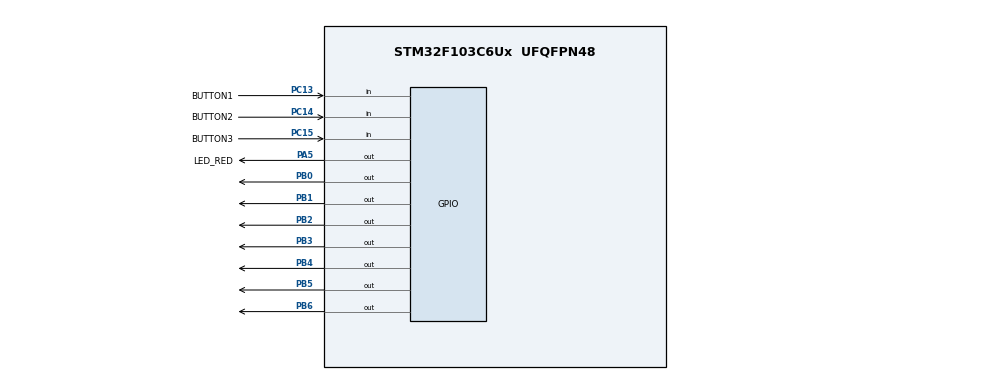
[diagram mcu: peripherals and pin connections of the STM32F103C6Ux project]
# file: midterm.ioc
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Mcu.Family=STM32F1
Mcu.Name=STM32F103C6Ux
Mcu.Package=UFQFPN48
NVIC.PriorityGroup=NVIC_PRIORITYGROUP_4
NVIC.TIM2_IRQn=true\:0\:0\:false\:false\:true\:true\:true
PA5.GPIO_Label=LED_RED
PA5.Signal=GPIO_Output
PB0.Signal=GPIO_Output
PB1.Signal=GPIO_Output
PB2.Signal=GPIO_Output
PB3.Signal=GPIO_Output
PB4.Signal=GPIO_Output
PB5.Signal=GPIO_Output
PB6.Signal=GPIO_Output
PC13-TAMPER-RTC.GPIO_Label=BUTTON1
PC13-TAMPER-RTC.GPIO_PuPd=GPIO_PULLUP
PC13-TAMPER-RTC.Signal=GPIO_Input
PC14-OSC32_IN.GPIO_Label=BUTTON2
PC14-OSC32_IN.GPIO_PuPd=GPIO_PULLUP
PC14-OSC32_IN.Signal=GPIO_Input
PC15-OSC32_OUT.GPIO_Label=BUTTON3
PC15-OSC32_OUT.GPIO_PuPd=GPIO_PULLUP
PC15-OSC32_OUT.Signal=GPIO_Input
ProjectManager.HeapSize=0x200
ProjectManager.StackSize=0x400
ProjectManager.TargetToolchain=STM32CubeIDE
RCC.APB1Freq_Value=8000000
RCC.APB2Freq_Value=8000000
TIM2.Period=10
TIM2.Prescaler=7999
VP_SYS_VS_ND.Mode=No_Debug
VP_TIM2_VS_ClockSourceINT.Mode=Internal
board=custom

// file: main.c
/* USER CODE BEGIN Header */
/**
  ******************************************************************************
  * @file           : main.c
  * @brief          : Main program body
  ******************************************************************************
  * @attention
  *
  * <h2><center>&copy; Copyright (c) 2022 STMicroelectronics.
  * All rights reserved.</center></h2>
  *
  * This software component is licensed by ST under BSD 3-Clause license,
  * the "License"; You may not use this file except in compliance with the
  * License. You may obtain a copy of the License at:
  *                        opensource.org/licenses/BSD-3-Clause
  *
  ******************************************************************************
  */
/* USER CODE END Header */
#include "main.h"

/* USER CODE BEGIN Includes */
#include "global.h"
#include "fsm_automatic.h"
#include "fsm_manual.h"
#include "led_blinky.h"
/* USER CODE END Includes */

TIM_HandleTypeDef htim2;

void SystemClock_Config(void);
static void MX_GPIO_Init(void);
static void MX_TIM2_Init(void);

int main(void)
{

  /* MCU Configuration--------------------------------------------------------*/

  /* Reset of all peripherals, Initializes the Flash interface and the Systick. */
  HAL_Init();

  /* Configure the system clock */
  SystemClock_Config();

  /* Initialize all configured peripherals */
  MX_GPIO_Init();
  MX_TIM2_Init();
  /* USER CODE BEGIN 2 */
  HAL_TIM_Base_Start_IT(&htim2);
  /* USER CODE END 2 */

  /* Infinite loop */
  /* USER CODE BEGIN WHILE */
  counter = INIT;
  status = INIT;
  while (1)
  {
    /* USER CODE END WHILE */

    /* USER CODE BEGIN 3 */
	  fsm_automatic_run();
	  fsm_manual_run();
	  led_blinky();
  }
  /* USER CODE END 3 */
}

void SystemClock_Config(void)
{
  RCC_OscInitTypeDef RCC_OscInitStruct = {0};
  RCC_ClkInitTypeDef RCC_ClkInitStruct = {0};

  /** Initializes the RCC Oscillators according to the specified parameters
  * in the RCC_OscInitTypeDef structure.
  */
  RCC_OscInitStruct.OscillatorType = RCC_OSCILLATORTYPE_HSI;
  RCC_OscInitStruct.HSIState = RCC_HSI_ON;
  RCC_OscInitStruct.HSICalibrationValue = RCC_HSICALIBRATION_DEFAULT;
  RCC_OscInitStruct.PLL.PLLState = RCC_PLL_NONE;
  if (HAL_RCC_OscConfig(&RCC_OscInitStruct) != HAL_OK)
  {
    Error_Handler();
  }
  /** Initializes the CPU, AHB and APB buses clocks
  */
  RCC_ClkInitStruct.ClockType = RCC_CLOCKTYPE_HCLK|RCC_CLOCKTYPE_SYSCLK
                              |RCC_CLOCKTYPE_PCLK1|RCC_CLOCKTYPE_PCLK2;
  RCC_ClkInitStruct.SYSCLKSource = RCC_SYSCLKSOURCE_HSI;
  RCC_ClkInitStruct.AHBCLKDivider = RCC_SYSCLK_DIV1;
  RCC_ClkInitStruct.APB1CLKDivider = RCC_HCLK_DIV1;
  RCC_ClkInitStruct.APB2CLKDivider = RCC_HCLK_DIV1;

  if (HAL_RCC_ClockConfig(&RCC_ClkInitStruct, FLASH_LATENCY_0) != HAL_OK)
  {
    Error_Handler();
  }
}

static void MX_TIM2_Init(void)
{

  TIM_ClockConfigTypeDef sClockSourceConfig = {0};
  TIM_MasterConfigTypeDef sMasterConfig = {0};

  htim2.Instance = TIM2;
  htim2.Init.Prescaler = 7999;
  htim2.Init.CounterMode = TIM_COUNTERMODE_UP;
  htim2.Init.Period = 10;
  htim2.Init.ClockDivision = TIM_CLOCKDIVISION_DIV1;
  htim2.Init.AutoReloadPreload = TIM_AUTORELOAD_PRELOAD_DISABLE;
  if (HAL_TIM_Base_Init(&htim2) != HAL_OK)
  {
    Error_Handler();
  }
  sClockSourceConfig.ClockSource = TIM_CLOCKSOURCE_INTERNAL;
  if (HAL_TIM_ConfigClockSource(&htim2, &sClockSourceConfig) != HAL_OK)
  {
    Error_Handler();
  }
  sMasterConfig.MasterOutputTrigger = TIM_TRGO_RESET;
  sMasterConfig.MasterSlaveMode = TIM_MASTERSLAVEMODE_DISABLE;
  if (HAL_TIMEx_MasterConfigSynchronization(&htim2, &sMasterConfig) != HAL_OK)
  {
    Error_Handler();
  }

}

static void MX_GPIO_Init(void)
{
  GPIO_InitTypeDef GPIO_InitStruct = {0};

  /* GPIO Ports Clock Enable */
  __HAL_RCC_GPIOC_CLK_ENABLE();
  __HAL_RCC_GPIOA_CLK_ENABLE();
  __HAL_RCC_GPIOB_CLK_ENABLE();

  /*Configure GPIO pin Output Level */
  HAL_GPIO_WritePin(LED_RED_GPIO_Port, LED_RED_Pin, GPIO_PIN_RESET);

  /*Configure GPIO pin Output Level */
  HAL_GPIO_WritePin(GPIOB, GPIO_PIN_0|GPIO_PIN_1|GPIO_PIN_2|GPIO_PIN_3
                          |GPIO_PIN_4|GPIO_PIN_5|GPIO_PIN_6, GPIO_PIN_RESET);

  /*Configure GPIO pins : BUTTON1_Pin BUTTON2_Pin BUTTON3_Pin */
  GPIO_InitStruct.Pin = BUTTON1_Pin|BUTTON2_Pin|BUTTON3_Pin;
  GPIO_InitStruct.Mode = GPIO_MODE_INPUT;
  GPIO_InitStruct.Pull = GPIO_PULLUP;
  HAL_GPIO_Init(GPIOC, &GPIO_InitStruct);

  /*Configure GPIO pin : LED_RED_Pin */
  GPIO_InitStruct.Pin = LED_RED_Pin;
  GPIO_InitStruct.Mode = GPIO_MODE_OUTPUT_PP;
  GPIO_InitStruct.Pull = GPIO_NOPULL;
  GPIO_InitStruct.Speed = GPIO_SPEED_FREQ_LOW;
  HAL_GPIO_Init(LED_RED_GPIO_Port, &GPIO_InitStruct);

  /*Configure GPIO pins : PB0 PB1 PB2 PB3
                           PB4 PB5 PB6 */
  GPIO_InitStruct.Pin = GPIO_PIN_0|GPIO_PIN_1|GPIO_PIN_2|GPIO_PIN_3
                          |GPIO_PIN_4|GPIO_PIN_5|GPIO_PIN_6;
  GPIO_InitStruct.Mode = GPIO_MODE_OUTPUT_PP;
  GPIO_InitStruct.Pull = GPIO_NOPULL;
  GPIO_InitStruct.Speed = GPIO_SPEED_FREQ_LOW;
  HAL_GPIO_Init(GPIOB, &GPIO_InitStruct);

}

/* USER CODE BEGIN 4 */
void HAL_TIM_PeriodElapsedCallback(TIM_HandleTypeDef *htim)
{
	timerRun();
	getKeyInput1();
	getKeyInput2();
	getKeyInput3();
}
/* USER CODE END 4 */

void Error_Handler(void)
{
  __disable_irq();
  while (1)
  {
  }
}

/************************ (C) COPYRIGHT STMicroelectronics *****END OF FILE****/
